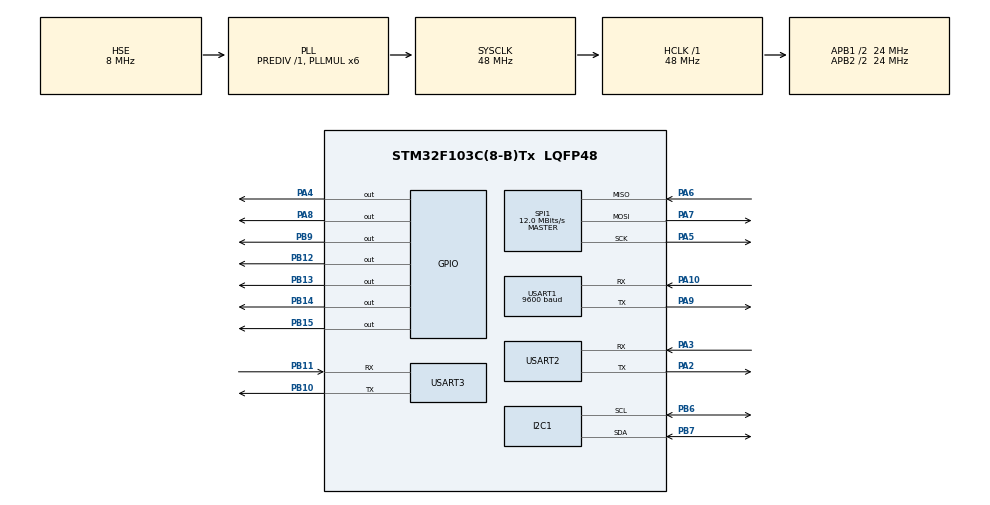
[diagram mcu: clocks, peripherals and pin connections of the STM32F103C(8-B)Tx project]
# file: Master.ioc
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Mcu.Family=STM32F1
Mcu.Name=STM32F103C(8-B)Tx
Mcu.Package=LQFP48
NVIC.PriorityGroup=NVIC_PRIORITYGROUP_4
NVIC.RTC_Alarm_IRQn=true\:0\:0\:false\:false\:true\:true\:true
NVIC.TIM3_IRQn=true\:0\:0\:false\:false\:true\:true\:true
NVIC.USART1_IRQn=true\:0\:0\:false\:false\:true\:true\:true
NVIC.USART2_IRQn=true\:0\:0\:false\:false\:true\:true\:true
NVIC.USART3_IRQn=true\:0\:0\:false\:false\:true\:true\:true
PA10.Mode=Asynchronous
PA10.Signal=USART1_RX
PA13.Mode=Serial_Wire
PA13.Signal=SYS_JTMS-SWDIO
PA14.Mode=Serial_Wire
PA14.Signal=SYS_JTCK-SWCLK
PA2.Mode=Asynchronous
PA2.Signal=USART2_TX
PA3.Mode=Asynchronous
PA3.Signal=USART2_RX
PA4.Signal=GPIO_Output
PA5.Mode=Full_Duplex_Master
PA5.Signal=SPI1_SCK
PA6.Mode=Full_Duplex_Master
PA6.Signal=SPI1_MISO
PA7.Mode=Full_Duplex_Master
PA7.Signal=SPI1_MOSI
PA8.GPIO_ModeDefaultOutputPP=GPIO_MODE_OUTPUT_OD
PA8.Signal=GPIO_Output
PA9.Mode=Asynchronous
PA9.Signal=USART1_TX
PB10.Mode=Asynchronous
PB10.Signal=USART3_TX
PB11.Mode=Asynchronous
PB11.Signal=USART3_RX
PB12.PinState=GPIO_PIN_SET
PB12.Signal=GPIO_Output
PB13.PinState=GPIO_PIN_SET
PB13.Signal=GPIO_Output
PB14.PinState=GPIO_PIN_SET
PB14.Signal=GPIO_Output
PB15.PinState=GPIO_PIN_SET
PB15.Signal=GPIO_Output
PB6.Mode=I2C
PB6.Signal=I2C1_SCL
PB7.Mode=I2C
PB7.Signal=I2C1_SDA
PB9.Signal=GPIO_Output
PC14-OSC32_IN.Mode=LSE-External-Oscillator
PC14-OSC32_IN.Signal=RCC_OSC32_IN
PC15-OSC32_OUT.Mode=LSE-External-Oscillator
PC15-OSC32_OUT.Signal=RCC_OSC32_OUT
PD0-OSC_IN.Mode=HSE-External-Oscillator
PD0-OSC_IN.Signal=RCC_OSC_IN
PD1-OSC_OUT.Mode=HSE-External-Oscillator
PD1-OSC_OUT.Signal=RCC_OSC_OUT
ProjectManager.HeapSize=0x200
ProjectManager.StackSize=0x400
ProjectManager.TargetToolchain=MDK-ARM V5
RCC.AHBFreq_Value=48000000
RCC.APB1CLKDivider=RCC_HCLK_DIV2
RCC.APB1Freq_Value=24000000
RCC.APB1TimCLKDivider=1
RCC.APB1TimFreq_Value=24000000
RCC.APB2CLKDivider=RCC_HCLK_DIV2
RCC.APB2Freq_Value=24000000
RCC.APB2TimFreq_Value=48000000
RCC.HCLKFreq_Value=48000000
RCC.PLLMUL=RCC_PLL_MUL6
RCC.PLLSourceVirtual=RCC_PLLSOURCE_HSE
RCC.RTCClockSelection=RCC_RTCCLKSOURCE_HSE_DIV128
RCC.SYSCLKFreq_VALUE=48000000
RCC.SYSCLKSource=RCC_SYSCLKSOURCE_PLLCLK
RCC.USBFreq_Value=48000000
SPI1.BaudRatePrescaler=SPI_BAUDRATEPRESCALER_2
SPI1.CalculateBaudRate=12.0 MBits/s
SPI1.Direction=SPI_DIRECTION_2LINES
SPI1.Mode=SPI_MODE_MASTER
SPI1.VirtualType=VM_MASTER
TIM3.Period=999
TIM3.Prescaler=48000
USART1.BaudRate=9600
USART1.VirtualMode=VM_ASYNC
USART2.VirtualMode=VM_ASYNC
USART3.VirtualMode=VM_ASYNC
VP_RTC_No_RTC_Output.Mode=RTC_OUT_NO
VP_TIM3_VS_ClockSourceINT.Mode=Internal
board=RTC

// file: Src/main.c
/**
  ******************************************************************************
  * File Name          : main.c
  * Description        : Main program body
  ******************************************************************************
  *
  * COPYRIGHT(c) 2021 STMicroelectronics
  *
  * Redistribution and use in source and binary forms, with or without modification,
  * are permitted provided that the following conditions are met:
  *   1. Redistributions of source code must retain the above copyright notice,
  *      this list of conditions and the following disclaimer.
  *   2. Redistributions in binary form must reproduce the above copyright notice,
  *      this list of conditions and the following disclaimer in the documentation
  *      and/or other materials provided with the distribution.
  *   3. Neither the name of STMicroelectronics nor the names of its contributors
  *      may be used to endorse or promote products derived from this software
  *      without specific prior written permission.
  *
  * THIS SOFTWARE IS PROVIDED BY THE COPYRIGHT HOLDERS AND CONTRIBUTORS "AS IS"
  * AND ANY EXPRESS OR IMPLIED WARRANTIES, INCLUDING, BUT NOT LIMITED TO, THE
  * IMPLIED WARRANTIES OF MERCHANTABILITY AND FITNESS FOR A PARTICULAR PURPOSE ARE
  * DISCLAIMED. IN NO EVENT SHALL THE COPYRIGHT HOLDER OR CONTRIBUTORS BE LIABLE
  * FOR ANY DIRECT, INDIRECT, INCIDENTAL, SPECIAL, EXEMPLARY, OR CONSEQUENTIAL
  * DAMAGES (INCLUDING, BUT NOT LIMITED TO, PROCUREMENT OF SUBSTITUTE GOODS OR
  * SERVICES; LOSS OF USE, DATA, OR PROFITS; OR BUSINESS INTERRUPTION) HOWEVER
  * CAUSED AND ON ANY THEORY OF LIABILITY, WHETHER IN CONTRACT, STRICT LIABILITY,
  * OR TORT (INCLUDING NEGLIGENCE OR OTHERWISE) ARISING IN ANY WAY OUT OF THE USE
  * OF THIS SOFTWARE, EVEN IF ADVISED OF THE POSSIBILITY OF SUCH DAMAGE.
  *
  ******************************************************************************
  */
#include "stm32f1xx_hal.h"

/* USER CODE BEGIN Includes */
#include "bme280.h"
#include "bme280_defs.h"
#include "namepage.h"
#include "SDS011.h"
#include <stdio.h>
#include <stdlib.h>
#include <string.h>
#include <math.h>

//Define Marcos
#define ESP_CMD_INDEX UINT8_C(4)
#define LCD_CMD_INDEX UINT8_C(2)
#define RTC_DATA_NUM_FORM UINT8_C(2)
#define RTC_DATA_FIELD UINT8_C(7)
#define RTC_DATA_STATUS_BYTE UINT8_C(0)
#define SDS_FRAME (9)
#define LCD_LEVEL_DATA_INDEX (6)
#define DATA_AQI_INDEX (0)
#define ESP_DATA_FIELD (6)
#define ESP_DATA_NUM_FORM (4)
#define MAX_COUNTER_VARIABLES (10)
#define FLAG_RAISING (1)
#define FLAG_FALLING (0)
#define TIME_FORMAT_SECOND (0)
#define TIME_FORMAT_MINUTE (1)
#define TIME_FORMAT_HOUR (2)
#define TIME_FORMAT_DAY (3)
#define FLAG_RAISE (1)
#define FLAG_DEFAULT (0)

/* USER CODE END Includes */

I2C_HandleTypeDef hi2c1;

RTC_HandleTypeDef hrtc;

SPI_HandleTypeDef hspi1;

TIM_HandleTypeDef htim3;

UART_HandleTypeDef huart1;
UART_HandleTypeDef huart2;
UART_HandleTypeDef huart3;

/* USER CODE BEGIN PV */
/* Private variables ---------------------------------------------------------*/

//Begin variables
UART_HandleTypeDef hua;
struct bme280_dev dev;
struct bme280_data cdata;
uint32_t countloop = 0;
float pm25 = 0, pm10 = 0;
uint16_t SDS_OFFSET = 100;
uint32_t TIME_UNIT[] = {1, 60, 3600, 86400};
uint16_t PM_MAX1 = 0, PM_MIN1 = 500;
uint16_t PM_MAX2 = 0, PM_MIN2 = 500;
uint8_t PROCESS = 0;

//Interrupt UART Variables
uint8_t Rx_DataReg1;
uint8_t Rx_DataReg2;
uint8_t Rx_DataReg3;
volatile uint8_t index1 = 0;
volatile uint8_t index2 = 0;
volatile uint8_t index3 = 0;

//Buffers
uint8_t buffer1[100];
char buffer2[100];
char buffer3[100];
char message1[100];
char message2[100];
char rtc_data[100];
char esp_data[100];
char wifi_ssid[100];
char wifi_pass[100];
char cmd_manual[100];
char cmd_auto[100];
uint8_t sds_data[10];
uint16_t data_outdoor[10];
uint16_t Air_data[10];

//Flags
uint8_t ESP_BUSY = 1;
uint8_t ESP_ISCONNECTED = 0;
uint8_t FLAG_SDS = 1;
uint8_t FLAG_RTC = 1;
uint8_t FLAG_UPDATE_DATA = 1;
uint8_t FLAG_REQUEST_DATA = 1;
uint8_t FLAG_SEND_DATA = 1;
uint8_t FLAG_UPDATE_CONFIG_1 = 1;
uint8_t FLAG_UPDATE_CONFIG_2 = 1;
uint8_t FLAG_UPDATE_LCD_DATA = 1;
uint8_t FLAG_UPDATE_LCD_DATE_TIME = 1;
uint8_t FLAG_SENSORS_READ = 1;
uint8_t FLAG_REQUEST_TIME_NTP = 1;
uint8_t FLAG_UPDATE_ESP_STATUS = 1;
uint8_t ENABLE_READ_RTC = 1;
uint8_t FLAG_REQUEST_ESP_STATUS = 1;
uint8_t FLAG_RECV_STATUS = 1;
uint8_t FLAG_MODE_AUTO = 0;
uint8_t FLAG_CMD_MANUAL = 1;
uint8_t FLAG_CMD_AUTO = 1;
uint16_t checksum = 0;
uint8_t checksumFlag = 0;

//Couter variables
uint32_t counter[MAX_COUNTER_VARIABLES] = {0};
uint8_t hcnt[MAX_COUNTER_VARIABLES] = {0}; // Handle for counter registration
uint8_t dcnt[MAX_COUNTER_VARIABLES] = {0}; // Freze counter
/* USER CODE END PV */

void SystemClock_Config(void);
static void MX_GPIO_Init(void);
static void SystemClock_Config(void);
static void MX_I2C1_Init(void);
static void MX_RTC_Init(void);
static void MX_SPI1_Init(void);
static void MX_TIM3_Init(void);
static void MX_USART1_UART_Init(void);
static void MX_USART2_UART_Init(void);
static void MX_USART3_UART_Init(void);

/* USER CODE BEGIN PFP */
/* Private function prototypes -----------------------------------------------*/

/* USER CODE END PFP */

/* USER CODE BEGIN 0 */

// I2C delay/read/write for driver BME

int fputc(int c, FILE *f)
{
	HAL_UART_Transmit(&hua, (uint8_t*)&c, 1, 0x00FF);
	return 0;
}

void HAL_UART_RxCpltCallback(UART_HandleTypeDef *huart)
{
	// ------------------------------ UART ESP ------------------------------
	if (huart->Instance == huart2.Instance)
	{

		if (index2 == 0) memset(&buffer2, 0, 100);
		//HAL_GPIO_WritePin(GPIOB, GPIO_PIN_12, GPIO_PIN_RESET);
		switch (index2)
		{
			case 0:
				if (Rx_DataReg2 == '#') {buffer2[index2++] = Rx_DataReg2; }
				break;
			case 1:
				if (Rx_DataReg2 == 'E') {buffer2[index2++] = Rx_DataReg2; }
				else index2 = 0;
				break;
			case 2:
				if (Rx_DataReg2 == 'S') {buffer2[index2++] = Rx_DataReg2; }
				else index2 = 0;
				break;
			case 3:
				if (Rx_DataReg2 == 'P') {buffer2[index2++] = Rx_DataReg2; }
				else index2 = 0;
				break;
			default:
				if (Rx_DataReg2 != 0x0D) buffer2[index2++] = Rx_DataReg2;
				else
				{
					// check buffer1[ESP_CMD_INDEX] for commander code:
					// 0 is State ESP in progress (Busy)
					// 1 is State IsConnected Wifi
					// 2 is RTC data from NTP server
					// 3 is DataMessage from Local Network ESP, then copy to Message1[100]
					switch (buffer2[ESP_CMD_INDEX])
					{
						case '0': ESP_BUSY = 0; PROCESS = 0;
							break;
						case '1':
							if (buffer2[ESP_CMD_INDEX + 1] == '1')
								ESP_ISCONNECTED = 1;
							else
								ESP_ISCONNECTED = 0;
							dcnt[CNT6] = 0;
							break;
						case '2':
							FLAG_RTC = 0;
							ENABLE_READ_RTC = 0;
							HAL_GPIO_WritePin(GPIOB, GPIO_PIN_15, GPIO_PIN_RESET) ;
							for (int i = 0; i < index2 - ESP_CMD_INDEX - 1; i++)
								rtc_data[i] = buffer2[i + ESP_CMD_INDEX + 1];
							break;
						case '3':
							FLAG_UPDATE_DATA = 0; HAL_GPIO_WritePin(GPIOB, GPIO_PIN_14, GPIO_PIN_RESET);
							for (int i = 0; i < index2 - ESP_CMD_INDEX - 1; i++)
								esp_data[i] = buffer2[i + ESP_CMD_INDEX + 1];
							dcnt[CNT4] = 0;
							break;
					}
					index2 = 0;
				}
		}
		HAL_UART_Receive_IT(&huart2, &Rx_DataReg2, 1);
	}
	// ------------------------------ UART SDS ------------------------------
	if (huart->Instance == huart1.Instance)
	{
		if (index1 == 0) memset(&buffer1, 0 , 100);
		switch (index1)
		{
			case 0:
				if (Rx_DataReg1 == 0xAA) {buffer1[index1++] = Rx_DataReg1;}
				break;
			case 1:
				if (Rx_DataReg1 == 0xC0) {buffer1[index1++] = Rx_DataReg1;}
				else index1 = 0;
				break;
			default:
				if (index1  < SDS_FRAME)
				{
					buffer1[index1] = Rx_DataReg1;
					if (index1 != 8) {checksum += Rx_DataReg1;}
					else if (Rx_DataReg1 == (checksum % 256)) checksumFlag = 1;
					index1++;
				}
				if (index1 == SDS_FRAME && Rx_DataReg1 == 0xAB)
				{
					if (checksumFlag)
					{
						for (int i = 0; i < 4; i++)  // Take 4 byte data of PM2.5 & PM10
						{
							sds_data[i] = buffer1[i+2];
						}
						FLAG_SDS = 0;
					}
					index1 = 0;
				}
		}
		HAL_UART_Receive_IT(&huart1, &Rx_DataReg1, 1);
	}
	// ------------------------------ UART LCD ------------------------------
	if (huart->Instance == huart3.Instance)
	{
		if (index3 == 0) memset(&buffer3, 0 , 100);
		{
			switch (index3)
			{
				case 0:
					if (Rx_DataReg3 == '#') buffer3[index3++] = Rx_DataReg3;
					break;
				case 1: // N stands for "Nextion LCD"
					if (Rx_DataReg3 == 'N') buffer3[index3++] = Rx_DataReg3;
					else index3 = 0;
					break;
				default:
					if (Rx_DataReg3 != 0x0D) buffer3[index3++] = Rx_DataReg3;
					else
					{
						switch (buffer3[LCD_CMD_INDEX])
						{
							case '0': // reserved
								break;
							case '1': // SSID WiFi Input
								FLAG_UPDATE_CONFIG_1 = 0;
								memset(&wifi_ssid, 0, 100);
								for (int i = 0; i < index3 - LCD_CMD_INDEX - 1; i++)
								{
									wifi_ssid[i] = buffer3[i + LCD_CMD_INDEX + 1];
								}
								break;
							case '2': // Password WiFi Input
								FLAG_UPDATE_CONFIG_2 = 0;
								memset(&wifi_pass, 0, 100);
								for (int i = 0; i < index3 - LCD_CMD_INDEX - 1; i++)
								{
									wifi_pass[i] = buffer3[i + LCD_CMD_INDEX + 1];
								}
								break;
							case '3':
								FLAG_CMD_MANUAL = 0;
								FLAG_MODE_AUTO = 1;
								memset(&cmd_manual, 0, 100);
								for (int i = 0; i < index3 - LCD_CMD_INDEX - 1; i++)
								{
									cmd_manual[i] = buffer3[i + LCD_CMD_INDEX + 1];
								}
								break;
							case '4':
								FLAG_REQUEST_TIME_NTP = 0;
								break;
							case '5':
								FLAG_REQUEST_DATA = 0;
								break;
						}
						index3 = 0;
					}
			}
		}
		HAL_UART_Receive_IT(&huart3, &Rx_DataReg3, 1);
	}
}
void HAL_TIM_PeriodElapsedCallback(TIM_HandleTypeDef *htim)
{
	if(htim -> Instance == htim3.Instance)
	{
		for(int i = 0; i < MAX_COUNTER_VARIABLES; i++)
		{
			if(hcnt[i] == 1 && dcnt[i] == 0) counter[i]++;
		}
	}
}
uint8_t USER_ATOI(char c)
{
	if ((c > 0x2F) && (c < 0x3A))
	{
		return (c - 48);
	}
	else
	{
		return 0;
	}
}
void PARSE_TIME(char time[RTC_DATA_FIELD][RTC_DATA_NUM_FORM], char *data)
{
	uint8_t n = 0;
	for(int i = 1; i < RTC_DATA_FIELD * RTC_DATA_NUM_FORM + 1;)  // Byte 1 of RTC_data for Status
	{
		for(int j = 0; j < RTC_DATA_NUM_FORM; j++)
		{
			time[n][j] = data[i++];
		}
		n++;
	}
}
void PARSE_DATA(char *data_in, uint16_t *data_out, uint8_t offset)
{
	uint8_t n = 0;
	char intermediate[ESP_DATA_FIELD][ESP_DATA_NUM_FORM];
	for(int i = 0; i < ESP_DATA_FIELD * ESP_DATA_NUM_FORM;)
	{
		for(int j = 0; j < ESP_DATA_NUM_FORM; j++)
		{
			intermediate[n][j] = data_in[i++];
		}
		n++;
	}
	for(int i = offset; i < ESP_DATA_FIELD + offset; i++)
	{
		data_out[i] = 0;
		for(int j = 0; j < ESP_DATA_NUM_FORM; j++)
		{
			data_out[i] += USER_ATOI(intermediate[i - offset][j]) * pow(10, ESP_DATA_NUM_FORM - 1 - j);
		}
	}
}
uint8_t BcdToDec(uint8_t Num)
{
	return ((Num / 16) * 10 + (Num % 16));
}

uint8_t DecToBcd(uint8_t Num)
{
	return ((Num / 10) * 16 + (Num % 10));
}
uint16_t USER_ROUND(float Num)
{
	int a = (int)Num;
	if (Num <= 0) return 0;
	if (Num - a >= 0.5){
		return (a + 1);
	}
	else{
		return a;
	}
}

void SET_DATE_TIME_FROM_NTP( uint8_t *flag, char *data)
{
	if(*flag == 0)
	{
		RTC_TimeTypeDef UTime;
		RTC_DateTypeDef UDate;
		char time[RTC_DATA_FIELD][2] = {0};
		uint8_t field[RTC_DATA_FIELD] = {0};

		PARSE_TIME(time, data);

		for(int i = 0; i < RTC_DATA_FIELD; i++)
		{
			for(int j = 0; j < RTC_DATA_NUM_FORM; j++)
			{
				field[i] += USER_ATOI(time[i][j]) * pow(10, RTC_DATA_NUM_FORM - 1 - j);
			}
		}
		UDate.Year = DecToBcd(field[0]);
		UDate.Month = DecToBcd(field[1]);
		UDate.Date = DecToBcd(field[2]);
		UDate.WeekDay = DecToBcd(field[6]);

		UTime.Hours = DecToBcd(field[3]);
		UTime.Minutes = DecToBcd(field[4]);
		UTime.Seconds = DecToBcd(field[5]);
//		hua = huart3;
//		printf("\nSET: BCD(%d:%d:%d)\n", UTime.Hours, UTime.Minutes, UTime.Seconds);
		HAL_RTC_SetTime(&hrtc, &UTime, RTC_FORMAT_BCD);
		HAL_RTC_SetDate(&hrtc, &UDate, RTC_FORMAT_BCD);
		*flag = 1;
	}
}

void SEND_DATA_THINGSPEAK(volatile uint8_t *esp_status, uint8_t *process, uint8_t *wifi, volatile uint8_t *flag, uint16_t *data, uint8_t field)
{
	if (*esp_status == 0 && *flag == 0 && *wifi == 1 && data[2] != 0)
	{
		char str[100] = {0};
		char buf[10] = {0};
		for(int i = 0; i < field; i++)
		{
			sprintf(buf, "%d%c", data[i], ';');
			strcat(str, buf);
		}
		hua  = huart2;
		printf("#3DATA;%s\r", str);
		hua  = huart3;
		printf("#3DATA;%s\r", str);

		*process = PROC_SEND_DATA_TO_THINGSPEAK;
		*esp_status = 1;
		*flag = 1;
	}
}

void ESP_RESET()
{
	HAL_GPIO_WritePin(GPIOA, GPIO_PIN_8, GPIO_PIN_RESET);
	HAL_Delay(50);
	HAL_GPIO_WritePin(GPIOA, GPIO_PIN_8, GPIO_PIN_SET);
}

// I2C delay/read/write for driver BME
void USER_DELAY(uint32_t period)
{
 HAL_Delay(period);
}
int8_t USER_READ(uint8_t dev_id, uint8_t reg_addr, uint8_t *reg_data, uint16_t len)
{
	HAL_StatusTypeDef status = HAL_OK;
	int8_t rslt = 0;
	status = HAL_I2C_Mem_Read(&hi2c1, (uint8_t)(dev_id<<1), (uint8_t)reg_addr, I2C_MEMADD_SIZE_8BIT, reg_data, len, 100);
	if (status != HAL_OK) rslt = 1;
	return rslt;
}
int8_t USER_WRITE(uint8_t dev_id, uint8_t reg_addr, uint8_t *reg_data, uint16_t len)
{
	HAL_StatusTypeDef status = HAL_OK;
	int8_t rslt = 0;
	status = HAL_I2C_Mem_Write(&hi2c1, (uint8_t)(dev_id<<1), (uint8_t)reg_addr, I2C_MEMADD_SIZE_8BIT, reg_data, len, 100);
	if (status != HAL_OK) rslt = 1;
	return rslt;
}

int8_t BME280_UINIT(struct bme280_dev *pdev)
{
	int8_t rslt = BME280_OK;
	pdev -> dev_id = BME280_I2C_ADDR_PRIM;
	pdev -> intf = BME280_I2C_INTF;
	pdev -> read = USER_READ;
	pdev -> write = USER_WRITE;
	pdev -> delay_ms = USER_DELAY;

	rslt = bme280_init(pdev);
	return rslt;
}
int8_t BME280_SETTING(struct bme280_dev *pdev)
{
	int8_t rslt;
	uint8_t settings_sel;

	/* Recommended mode of operation: Indoor navigation */
	pdev->settings.osr_h = BME280_OVERSAMPLING_1X;
	pdev->settings.osr_p = BME280_OVERSAMPLING_16X;
	pdev->settings.osr_t = BME280_OVERSAMPLING_2X;
	pdev->settings.filter = BME280_FILTER_COEFF_16;
	pdev->settings.standby_time = BME280_STANDBY_TIME_62_5_MS;

	settings_sel = BME280_OSR_PRESS_SEL;
	settings_sel |= BME280_OSR_TEMP_SEL;
	settings_sel |= BME280_OSR_HUM_SEL;
	settings_sel |= BME280_STANDBY_SEL;
	settings_sel |= BME280_FILTER_SEL;
	rslt = bme280_set_sensor_settings(settings_sel, pdev);
	rslt = bme280_set_sensor_mode(BME280_NORMAL_MODE, pdev);

	return rslt;
}
int8_t BME280_READ_DATA(struct bme280_data *pcomp_data, struct bme280_dev *pdev)
{
	int8_t rslt;
	rslt = bme280_get_sensor_data(BME280_ALL, pcomp_data, pdev);
	return rslt;
}

uint16_t getAqi(float C, uint8_t type)
{
  float I, I_hi, I_low;
  float  C_hi, C_low;
  if (type == 25) {
    if (C > 0 && C < 15.4) {
      C_hi  = 15.4;
      C_low = 0.0;
      I_hi  = 50;
      I_low = 0;
    }
    else if (C < 40.4) {
      C_hi  = 40.4;
      C_low = 15.5;
      I_hi  = 100;
      I_low = 51;
    }
    else if (C < 65.4) {
      C_hi  = 65.4;
      C_low = 40.5;
      I_hi  = 150;
      I_low = 101;
    }
    else if (C < 150.4) {
      C_hi  = 150.4;
      C_low = 65.5;
      I_hi  = 200;
      I_low = 151;
    }
    else if (C < 250.4) {
      C_hi  = 250.4;
      C_low = 150.5;
      I_hi  = 300;
      I_low = 201;
    }
    else if (C < 350.4) {
      C_hi  = 350.4;
      C_low = 250.5;
      I_hi  = 400;
      I_low = 301;
    }
    else if (C < 500.4) {
      C_hi  = 500.4;
      C_low = 350.5;
      I_hi  = 500;
      I_low = 401;
    }
  }
  if (type == 10) {
    if (C > 0 && C < 54) {
      C_hi  = 54;
      C_low = 0.0;
      I_hi  = 50;
      I_low = 0;
    }
    else if (C < 154) {
      C_hi  = 154;
      C_low = 55;
      I_hi  = 100;
      I_low = 51;
    }
    else if (C < 254) {
      C_hi  = 254;
      C_low = 155;
      I_hi  = 150;
      I_low = 101;
    }
    else if (C < 354) {
      C_hi  = 354;
      C_low = 255;
      I_hi  = 200;
      I_low = 151;
    }
    else if (C < 424) {
      C_hi  = 424;
      C_low = 355;
      I_hi  = 300;
      I_low = 201;
    }
    else if (C < 504) {
      C_hi  = 504;
      C_low = 425;
      I_hi  = 400;
      I_low = 301;
    }
    else if (C < 604) {
      C_hi  = 604;
      C_low = 505;
      I_hi  = 500;
      I_low = 401;
    }
    else return 500;
  }

  I = ((I_hi - I_low) / (C_hi - C_low) * (C - C_low)) + I_low;
  return (uint16_t)I;
}

uint16_t USER_MAX(uint16_t num1, uint16_t num2)
{
	if (num1 > num2)
	{
		return num1;
	}
	else
	{
		return num2;
	}
}
uint16_t USER_MIN(uint16_t num1, uint16_t num2)
{
	if (num1 < num2)
	{
		return num1;
	}
	else
	{
		return num2;
	}
}
void SDS011_USER_READ(uint8_t *flag, float *pm25, float *pm10)
{
	if (*flag == 0)
	{
		*pm25 = (float)(sds_data[1] << 8);
		*pm25 += (float)sds_data[0];
		*pm25 /= 10.0;
		*pm10 = (float)(sds_data[3] << 8);
		*pm10 += (float)sds_data[2];
		*pm10 /= 10.0;
		*flag = 1;
	}
}
void LCD_CMD(char *cmd)
{
	hua = huart3;
	printf("%s", cmd);
	printf("%c%c%c", 0xFF, 0xFF, 0xFF);
}
void LCD_UPDATE_DATA_PAGE(uint8_t *flag, uint8_t pg_number, uint16_t *data, uint8_t flag_option)
{
	if (*flag == 0)
	{
		if (pg_number == LCD_PAGE_INDOOR)
		{
			//Normal Data
			for (int i = 0; i < LCD_FIELD_OF_PAGE; i++)
			{
				char cmd[50];
				sprintf(cmd, "%s.n%d.val=%d", LCD_PAGE_NAME[pg_number], i, data[i]);
				LCD_CMD(cmd);
			}

			// Max, Min AQI
			char max_aqi[50], min_aqi[50];
			PM_MAX1 = USER_MAX(PM_MAX1, data[DATA_AQI_INDEX]);
			PM_MIN1 = USER_MIN(PM_MIN1, data[DATA_AQI_INDEX]);
			sprintf(max_aqi, "%s.%s.val=%d", LCD_PAGE_NAME[pg_number], LCD_VAR_NAME[LCD_VAR_MAX_NAME], PM_MAX1);
			sprintf(min_aqi, "%s.%s.val=%d", LCD_PAGE_NAME[pg_number], LCD_VAR_NAME[LCD_VAR_MIN_NAME], PM_MIN1);
			if (data[DATA_AQI_INDEX] != 0)
			{
				LCD_CMD(max_aqi);
				LCD_CMD(min_aqi);
			}
		}
		else
		{
			if (pg_number == LCD_PAGE_OUTDOOR)
			{
				//Normal Data
				for (int i = 0; i < LCD_FIELD_OF_PAGE; i++)
				{
					char cmd[50];
					sprintf(cmd, "%s.n%d.val=%d", LCD_PAGE_NAME[pg_number], i, data[i]);
					LCD_CMD(cmd);
				}

				//Level Water
				char level[50];
				sprintf(level, "%s.%s.val=%d",
											LCD_PAGE_NAME[LCD_PAGE_OUTDOOR],
											LCD_VAR_NAME[LCD_VAR_LEVEL_NAME],
											data[LCD_LEVEL_DATA_INDEX]);
				LCD_CMD(level);

				//Max, Min AQI
				char max_aqi[50], min_aqi[50];
				PM_MAX2 = USER_MAX(PM_MAX2, data[DATA_AQI_INDEX]);
				PM_MIN2 = USER_MIN(PM_MIN2, data[DATA_AQI_INDEX]);
				sprintf(max_aqi, "%s.%s.val=%d", LCD_PAGE_NAME[pg_number], LCD_VAR_NAME[LCD_VAR_MAX_NAME], PM_MAX2);
				sprintf(min_aqi, "%s.%s.val=%d", LCD_PAGE_NAME[pg_number], LCD_VAR_NAME[LCD_VAR_MIN_NAME], PM_MIN2);
				if (data[DATA_AQI_INDEX] != 0)
				{
					LCD_CMD(max_aqi);
					LCD_CMD(min_aqi);
				}
			}
		}
		if (flag_option == 1) *flag = 1;
	}
}
uint8_t REQUEST_UPDATE_DATA(uint8_t *flag_free, uint8_t *process, uint8_t *flag_request, uint8_t slave_id, uint8_t id_cnt)
{
	if(*flag_free == 0 && *flag_request == 0)
	{
		HAL_GPIO_WritePin(GPIOB, GPIO_PIN_13, GPIO_PIN_RESET);
		hua = huart2;
		printf("#5SLAVE%d\r", slave_id);
		*process = PROC_RECV_DATA_OUTDOOR_DEVICE;
		*flag_request = 1;
		*flag_free = 1;
		dcnt[id_cnt] = 1;
		return 1;
	}
	else return 0;
}
void GET_UPDATE_DATA(uint8_t *flag_update, char *data_in, uint16_t *data_out)
{
	if(*flag_update == 0)
	{
		PARSE_DATA(data_in, data_out, 1);
		data_out[0] = USER_MAX(getAqi(data_out[1], 25), getAqi(data_out[2], 10));
		*flag_update = 1;
	}
}
void FLAG_UPDATE_STATUS(uint8_t *flag, uint8_t counter_id, uint8_t type_action, uint8_t time_format, uint16_t period)
{
	/*Type Action: 	0 for FALLING (1 -> 0)
									1 for RASING (0 -> 1)

		Time Format:	0 - Second
									1 - Minute
									2 - Hour
									3 - Day
		TIME_UNIT[] = {1, 60, 3600, 86400}
	*/
	if(counter_id < MAX_COUNTER_VARIABLES)
	{
		if(hcnt[counter_id] == 0) hcnt[counter_id] = 1;  // Flag Registration
		if(counter[counter_id] >= period * TIME_UNIT[time_format])
		{
			if(type_action == FLAG_RAISING) *flag = 1;
			else *flag = 0;
			counter[counter_id] = 0; // Reset counter
		}
	}

}
void READ_SENSORS(uint8_t *flag, struct bme280_dev *pdev, struct bme280_data *pdata, float *pm25, float *pm10, uint8_t *flagsds)
{
	if(*flag == 0)
	{
		BME280_READ_DATA(pdata, pdev);
		SDS011_USER_READ(flagsds, pm25, pm10);
		*flag = 1;
	}
}
void REQUEST_TIME_NTP(uint8_t *flagfree, uint8_t *process, uint8_t *wifi, uint8_t *flag)
{
	if(*flagfree == 0 && *flag == 0 && *wifi == 1)
	{
		hua = huart2;
		printf("#1122\r");
		*process = PROC_SYNC_TIME;
		*flag = 1;
		*flagfree = 1;
		HAL_GPIO_WritePin(GPIOB, GPIO_PIN_12, GPIO_PIN_RESET);
	}
}
void DISPLAY_TIME(uint8_t *en_flag, uint8_t *update_flag, RTC_TimeTypeDef *ptime, RTC_DateTypeDef *pdate)
{
	if (*en_flag == 0 && *update_flag == 0)
	{

		HAL_RTC_GetTime(&hrtc, ptime, RTC_FORMAT_BCD);
		HAL_RTC_GetDate(&hrtc, pdate, RTC_FORMAT_BCD);
		char up_date[50];
		char up_time[50];
		sprintf(up_date, "%s.%s.txt=\"%s, %d %s\"", LCD_PAGE_NAME[LCD_PAGE_INDOOR],
								LCD_VAR_NAME[LCD_VAR_DATE_NAME], WEEKDAY[BcdToDec(pdate->WeekDay)], BcdToDec(pdate->Date), MONTH[BcdToDec(pdate->Month) - 1]);
		sprintf(up_time, "%s.%s.txt=\"%d:%d:%d\"", LCD_PAGE_NAME[LCD_PAGE_INDOOR],
								LCD_VAR_NAME[LCD_VAR_TIME_NAME], BcdToDec(ptime->Hours), BcdToDec(ptime->Minutes), BcdToDec(ptime->Seconds));
		LCD_CMD(up_date);
		LCD_CMD(up_time);
		*update_flag = 1;
	}
}
void DISPLAY_STATUS(uint8_t *flag, uint8_t state, uint8_t process)
{
	if (*flag == 0)
	{
		if (state == 1 || state == 0)
		{
			char cmd1[50], cmd2[50];
			sprintf(cmd1, "%s.%s.val=%d", LCD_PAGE_NAME[LCD_PAGE_INDOOR], LCD_VAR_NAME[LCD_VAR_STATE_NAME], state);
			sprintf(cmd2, "%s.%s.val=%d", LCD_PAGE_NAME[LCD_PAGE_INDOOR], LCD_VAR_NAME[LCD_VAR_PROCESS_NAME], process);
			LCD_CMD(cmd1);
			LCD_CMD(cmd2);
		}
		*flag = 1;
	}
}
void REQUEST_ESP_STATUS(uint8_t *flag_free, uint8_t *process, uint8_t *flag_request, uint8_t id_cnt)
{
	if (*flag_free == 0 && *flag_request == 0)
	{
		hua = huart2;
		printf("#2\r");
		FLAG_RECV_STATUS = 0;
		*process = PROC_QUERY_STATUS;
		*flag_free = 1;
		*flag_request = 1;
		dcnt[id_cnt] = 1;

	}

}
void WRITE_CONFIG(uint8_t *flag_free, uint8_t *flag1, uint8_t *flag2, uint8_t *process)
{
	if (*flag_free == 0 && *flag1 == 0 && *flag2 == 0)
	{
		hua = huart2;
		printf("#6;%s;%s;\r", wifi_ssid, wifi_pass);
		*process = PROC_WRITE_CONFIG;
		*flag1 = 1;
		*flag2 = 1;
		*flag_free = 1;
	}
}
void SEND_COMMAND_MANUAL(uint8_t *flag_free, uint8_t *process, uint8_t *flag, char *cmd)
{
	if (*flag_free == 0 && *flag == 0)
	{
		hua = huart2;
		printf("#4;%s;\r", cmd);
		*process = PROC_SEND_COMMAND_MODE_MANUAL;
		*flag_free = 1;
		*flag = 1;

	}
}
void SEND_COMMAND_AUTO(uint8_t *flag_free, uint8_t *process, uint8_t *flag, uint8_t *manual, char *cmd)
{
	if (*flag_free == 0 && *flag == 0 && *manual == 0)
	{
		hua = huart2;
		printf("#4;%s;\r", cmd);
		*process = PROC_SEND_COMMAND_MODE_AUTO;
		*flag_free = 1;
		*flag = 1;

	}
}
/* USER CODE END 0 */

int main(void)
{

  /* MCU Configuration----------------------------------------------------------*/

  /* Reset of all peripherals, Initializes the Flash interface and the Systick. */
  HAL_Init();

  /* Configure the system clock */
  SystemClock_Config();

  /* Initialize all configured peripherals */
  MX_GPIO_Init();
  SystemClock_Config();
  MX_I2C1_Init();
  MX_RTC_Init();
  MX_SPI1_Init();
  MX_TIM3_Init();
  MX_USART1_UART_Init();
  MX_USART2_UART_Init();
  MX_USART3_UART_Init();

  /* USER CODE BEGIN 2 */
	//---------------------------------------------------------
	countloop++;
	RTC_TimeTypeDef RTC_Time;
	RTC_DateTypeDef RTC_Date;
	ESP_RESET();
	HAL_Delay(2000);
	HAL_UART_Receive_IT(&huart1, &Rx_DataReg1, 1);
	HAL_UART_Receive_IT(&huart2, &Rx_DataReg2, 1);
	HAL_UART_Receive_IT(&huart3, &Rx_DataReg3, 1);

	// INIT & SETUP ESP
	hua = huart2;
	printf("import myos\r");
	//HAL_Delay(5000);

	//INIT BME280
	hua = huart3;
	printf("INIT BME\n");
	BME280_UINIT(&dev);
	hua = huart3;
	printf("INIT BME OK\n");
	BME280_SETTING(&dev);
	FLAG_REQUEST_DATA = 1;
	FLAG_SEND_DATA = 0;
	FLAG_REQUEST_TIME_NTP = 0;

	//Start Timer for OS
	HAL_TIM_Base_Start_IT(&htim3);
	//---------------------------------------------------------
  /* USER CODE END 2 */

  /* Infinite loop */
  while (1)
  {

  /* USER CODE BEGIN 3 */

		// Read data from Sensors
		FLAG_UPDATE_STATUS(&FLAG_SENSORS_READ, CNT0, FLAG_FALLING, TIME_FORMAT_SECOND, 1);
		READ_SENSORS(&FLAG_SENSORS_READ, &dev, &cdata, &pm25, &pm10, &FLAG_SDS);

		// Update LCD Display
		FLAG_UPDATE_STATUS(&FLAG_UPDATE_LCD_DATA, CNT1, FLAG_FALLING, TIME_FORMAT_SECOND, 1);
		if (FLAG_UPDATE_LCD_DATA == 0)
		{
			Air_data[0] = USER_MAX(getAqi(pm25, 25), getAqi(pm10, 10));
			Air_data[1] = USER_ROUND(pm25);
			Air_data[2] = USER_ROUND(pm10);
			Air_data[3] = USER_ROUND(cdata.temperature);
			Air_data[4] = USER_ROUND(cdata.humidity);
			Air_data[5] = USER_ROUND(cdata.pressure / 100);
		}
		LCD_UPDATE_DATA_PAGE(&FLAG_UPDATE_LCD_DATA, 0, Air_data, FLAG_DEFAULT);
		LCD_UPDATE_DATA_PAGE(&FLAG_UPDATE_LCD_DATA, 1, data_outdoor, FLAG_RAISE);

		// Set date time periodic
		FLAG_UPDATE_STATUS(&FLAG_REQUEST_TIME_NTP, CNT2, FLAG_FALLING, TIME_FORMAT_DAY, 1);
		REQUEST_TIME_NTP(&ESP_BUSY, &PROCESS, &ESP_ISCONNECTED, &FLAG_REQUEST_TIME_NTP);
		SET_DATE_TIME_FROM_NTP(&FLAG_RTC, rtc_data);

		// Send data to Thingspeak
		FLAG_UPDATE_STATUS(&FLAG_SEND_DATA, CNT3, FLAG_FALLING, TIME_FORMAT_MINUTE, 1);
		SEND_DATA_THINGSPEAK(&ESP_BUSY, &PROCESS, &ESP_ISCONNECTED, &FLAG_SEND_DATA, Air_data, 6);

		// Get data of outdoor device
		FLAG_UPDATE_STATUS(&FLAG_REQUEST_DATA, CNT4, FLAG_FALLING, TIME_FORMAT_DAY, 2);
		REQUEST_UPDATE_DATA(&ESP_BUSY, &PROCESS, &FLAG_REQUEST_DATA, 1, CNT4);
		GET_UPDATE_DATA(&FLAG_UPDATE_DATA, esp_data, data_outdoor);

		// Update time to LCD
		FLAG_UPDATE_STATUS(&FLAG_UPDATE_LCD_DATE_TIME, CNT5, FLAG_FALLING, TIME_FORMAT_SECOND, 1);
		DISPLAY_TIME(&ENABLE_READ_RTC, &FLAG_UPDATE_LCD_DATE_TIME, &RTC_Time, &RTC_Date);

		// Update Status of WiFi connection and State of ESP (Free or Busy)
		FLAG_UPDATE_STATUS(&FLAG_REQUEST_ESP_STATUS, CNT6, FLAG_FALLING, TIME_FORMAT_SECOND, 30);
		REQUEST_ESP_STATUS(&ESP_BUSY, &PROCESS, &FLAG_REQUEST_ESP_STATUS, CNT6);

		FLAG_UPDATE_STATUS(&FLAG_UPDATE_ESP_STATUS, CNT7, FLAG_FALLING, TIME_FORMAT_SECOND, 1);
		DISPLAY_STATUS(&FLAG_UPDATE_ESP_STATUS, ESP_ISCONNECTED, PROCESS);

		// Write Config to ESP
		WRITE_CONFIG(&ESP_BUSY, &FLAG_UPDATE_CONFIG_1, &FLAG_UPDATE_CONFIG_2, &PROCESS);

		// Send Command Auto-Mode
		SEND_COMMAND_AUTO(&ESP_BUSY, &PROCESS, &FLAG_CMD_AUTO, &FLAG_MODE_AUTO, cmd_auto);

		// Send Command Manual-Mode
		SEND_COMMAND_MANUAL(&ESP_BUSY, &PROCESS, &FLAG_CMD_MANUAL, cmd_manual);

		//HAL_Delay(10);

  }
  /* USER CODE END 3 */

}

/** System Clock Configuration
*/
void SystemClock_Config(void)
{

  RCC_OscInitTypeDef RCC_OscInitStruct;
  RCC_ClkInitTypeDef RCC_ClkInitStruct;
  RCC_PeriphCLKInitTypeDef PeriphClkInit;

  RCC_OscInitStruct.OscillatorType = RCC_OSCILLATORTYPE_HSE;
  RCC_OscInitStruct.HSEState = RCC_HSE_ON;
  RCC_OscInitStruct.HSEPredivValue = RCC_HSE_PREDIV_DIV1;
  RCC_OscInitStruct.HSIState = RCC_HSI_ON;
  RCC_OscInitStruct.PLL.PLLState = RCC_PLL_ON;
  RCC_OscInitStruct.PLL.PLLSource = RCC_PLLSOURCE_HSE;
  RCC_OscInitStruct.PLL.PLLMUL = RCC_PLL_MUL6;
  HAL_RCC_OscConfig(&RCC_OscInitStruct);

  RCC_ClkInitStruct.ClockType = RCC_CLOCKTYPE_HCLK|RCC_CLOCKTYPE_SYSCLK
                              |RCC_CLOCKTYPE_PCLK1|RCC_CLOCKTYPE_PCLK2;
  RCC_ClkInitStruct.SYSCLKSource = RCC_SYSCLKSOURCE_PLLCLK;
  RCC_ClkInitStruct.AHBCLKDivider = RCC_SYSCLK_DIV1;
  RCC_ClkInitStruct.APB1CLKDivider = RCC_HCLK_DIV2;
  RCC_ClkInitStruct.APB2CLKDivider = RCC_HCLK_DIV2;
  HAL_RCC_ClockConfig(&RCC_ClkInitStruct, FLASH_LATENCY_1);

  PeriphClkInit.PeriphClockSelection = RCC_PERIPHCLK_RTC;
  PeriphClkInit.RTCClockSelection = RCC_RTCCLKSOURCE_HSE_DIV128;
  HAL_RCCEx_PeriphCLKConfig(&PeriphClkInit);

  HAL_SYSTICK_Config(HAL_RCC_GetHCLKFreq()/1000);

  HAL_SYSTICK_CLKSourceConfig(SYSTICK_CLKSOURCE_HCLK);

  /* SysTick_IRQn interrupt configuration */
  HAL_NVIC_SetPriority(SysTick_IRQn, 0, 0);
}

/* I2C1 init function */
void MX_I2C1_Init(void)
{

  hi2c1.Instance = I2C1;
  hi2c1.Init.ClockSpeed = 100000;
  hi2c1.Init.DutyCycle = I2C_DUTYCYCLE_2;
  hi2c1.Init.OwnAddress1 = 0;
  hi2c1.Init.AddressingMode = I2C_ADDRESSINGMODE_7BIT;
  hi2c1.Init.DualAddressMode = I2C_DUALADDRESS_DISABLE;
  hi2c1.Init.OwnAddress2 = 0;
  hi2c1.Init.GeneralCallMode = I2C_GENERALCALL_DISABLE;
  hi2c1.Init.NoStretchMode = I2C_NOSTRETCH_DISABLE;
  HAL_I2C_Init(&hi2c1);

}

/* RTC init function */
void MX_RTC_Init(void)
{

  RTC_TimeTypeDef sTime;
  RTC_DateTypeDef DateToUpdate;

    /**Initialize RTC and set the Time and Date
    */
  hrtc.Instance = RTC;
  hrtc.Init.AsynchPrediv = RTC_AUTO_1_SECOND;
  hrtc.Init.OutPut = RTC_OUTPUTSOURCE_NONE;
  HAL_RTC_Init(&hrtc);

  sTime.Hours = 0x1;
  sTime.Minutes = 0x0;
  sTime.Seconds = 0x0;

  HAL_RTC_SetTime(&hrtc, &sTime, RTC_FORMAT_BCD);

  DateToUpdate.WeekDay = RTC_WEEKDAY_MONDAY;
  DateToUpdate.Month = RTC_MONTH_JANUARY;
  DateToUpdate.Date = 0x1;
  DateToUpdate.Year = 0x0;

  HAL_RTC_SetDate(&hrtc, &DateToUpdate, RTC_FORMAT_BCD);

}

/* SPI1 init function */
void MX_SPI1_Init(void)
{

  hspi1.Instance = SPI1;
  hspi1.Init.Mode = SPI_MODE_MASTER;
  hspi1.Init.Direction = SPI_DIRECTION_2LINES;
  hspi1.Init.DataSize = SPI_DATASIZE_8BIT;
  hspi1.Init.CLKPolarity = SPI_POLARITY_LOW;
  hspi1.Init.CLKPhase = SPI_PHASE_1EDGE;
  hspi1.Init.NSS = SPI_NSS_SOFT;
  hspi1.Init.BaudRatePrescaler = SPI_BAUDRATEPRESCALER_2;
  hspi1.Init.FirstBit = SPI_FIRSTBIT_MSB;
  hspi1.Init.TIMode = SPI_TIMODE_DISABLE;
  hspi1.Init.CRCCalculation = SPI_CRCCALCULATION_DISABLE;
  hspi1.Init.CRCPolynomial = 10;
  HAL_SPI_Init(&hspi1);

}

/* TIM3 init function */
void MX_TIM3_Init(void)
{

  TIM_ClockConfigTypeDef sClockSourceConfig;
  TIM_MasterConfigTypeDef sMasterConfig;

  htim3.Instance = TIM3;
  htim3.Init.Prescaler = 48000;
  htim3.Init.CounterMode = TIM_COUNTERMODE_UP;
  htim3.Init.Period = 999;
  htim3.Init.ClockDivision = TIM_CLOCKDIVISION_DIV1;
  HAL_TIM_Base_Init(&htim3);

  sClockSourceConfig.ClockSource = TIM_CLOCKSOURCE_INTERNAL;
  HAL_TIM_ConfigClockSource(&htim3, &sClockSourceConfig);

  sMasterConfig.MasterOutputTrigger = TIM_TRGO_RESET;
  sMasterConfig.MasterSlaveMode = TIM_MASTERSLAVEMODE_DISABLE;
  HAL_TIMEx_MasterConfigSynchronization(&htim3, &sMasterConfig);

}

/* USART1 init function */
void MX_USART1_UART_Init(void)
{

  huart1.Instance = USART1;
  huart1.Init.BaudRate = 9600;
  huart1.Init.WordLength = UART_WORDLENGTH_8B;
  huart1.Init.StopBits = UART_STOPBITS_1;
  huart1.Init.Parity = UART_PARITY_NONE;
  huart1.Init.Mode = UART_MODE_TX_RX;
  huart1.Init.HwFlowCtl = UART_HWCONTROL_NONE;
  huart1.Init.OverSampling = UART_OVERSAMPLING_16;
  HAL_UART_Init(&huart1);

}

/* USART2 init function */
void MX_USART2_UART_Init(void)
{

  huart2.Instance = USART2;
  huart2.Init.BaudRate = 115200;
  huart2.Init.WordLength = UART_WORDLENGTH_8B;
  huart2.Init.StopBits = UART_STOPBITS_1;
  huart2.Init.Parity = UART_PARITY_NONE;
  huart2.Init.Mode = UART_MODE_TX_RX;
  huart2.Init.HwFlowCtl = UART_HWCONTROL_NONE;
  huart2.Init.OverSampling = UART_OVERSAMPLING_16;
  HAL_UART_Init(&huart2);

}

/* USART3 init function */
void MX_USART3_UART_Init(void)
{

  huart3.Instance = USART3;
  huart3.Init.BaudRate = 115200;
  huart3.Init.WordLength = UART_WORDLENGTH_8B;
  huart3.Init.StopBits = UART_STOPBITS_1;
  huart3.Init.Parity = UART_PARITY_NONE;
  huart3.Init.Mode = UART_MODE_TX_RX;
  huart3.Init.HwFlowCtl = UART_HWCONTROL_NONE;
  huart3.Init.OverSampling = UART_OVERSAMPLING_16;
  HAL_UART_Init(&huart3);

}

/** Configure pins as
        * Analog
        * Input
        * Output
        * EVENT_OUT
        * EXTI
*/
void MX_GPIO_Init(void)
{

  GPIO_InitTypeDef GPIO_InitStruct;

  /* GPIO Ports Clock Enable */
  __HAL_RCC_GPIOC_CLK_ENABLE();
  __HAL_RCC_GPIOD_CLK_ENABLE();
  __HAL_RCC_GPIOA_CLK_ENABLE();
  __HAL_RCC_GPIOB_CLK_ENABLE();

  /*Configure GPIO pin Output Level */
  HAL_GPIO_WritePin(GPIOA, GPIO_PIN_4|GPIO_PIN_8, GPIO_PIN_RESET);

  /*Configure GPIO pin Output Level */
  HAL_GPIO_WritePin(GPIOB, GPIO_PIN_12|GPIO_PIN_13|GPIO_PIN_14|GPIO_PIN_15, GPIO_PIN_SET);

  /*Configure GPIO pin Output Level */
  HAL_GPIO_WritePin(GPIOB, GPIO_PIN_9, GPIO_PIN_RESET);

  /*Configure GPIO pin : PA4 */
  GPIO_InitStruct.Pin = GPIO_PIN_4;
  GPIO_InitStruct.Mode = GPIO_MODE_OUTPUT_PP;
  GPIO_InitStruct.Speed = GPIO_SPEED_FREQ_LOW;
  HAL_GPIO_Init(GPIOA, &GPIO_InitStruct);

  /*Configure GPIO pins : PB12 PB13 PB14 PB15
                           PB9 */
  GPIO_InitStruct.Pin = GPIO_PIN_12|GPIO_PIN_13|GPIO_PIN_14|GPIO_PIN_15
                          |GPIO_PIN_9;
  GPIO_InitStruct.Mode = GPIO_MODE_OUTPUT_PP;
  GPIO_InitStruct.Speed = GPIO_SPEED_FREQ_LOW;
  HAL_GPIO_Init(GPIOB, &GPIO_InitStruct);

  /*Configure GPIO pin : PA8 */
  GPIO_InitStruct.Pin = GPIO_PIN_8;
  GPIO_InitStruct.Mode = GPIO_MODE_OUTPUT_OD;
  GPIO_InitStruct.Speed = GPIO_SPEED_FREQ_LOW;
  HAL_GPIO_Init(GPIOA, &GPIO_InitStruct);

}

/************************ (C) COPYRIGHT STMicroelectronics *****END OF FILE****/
